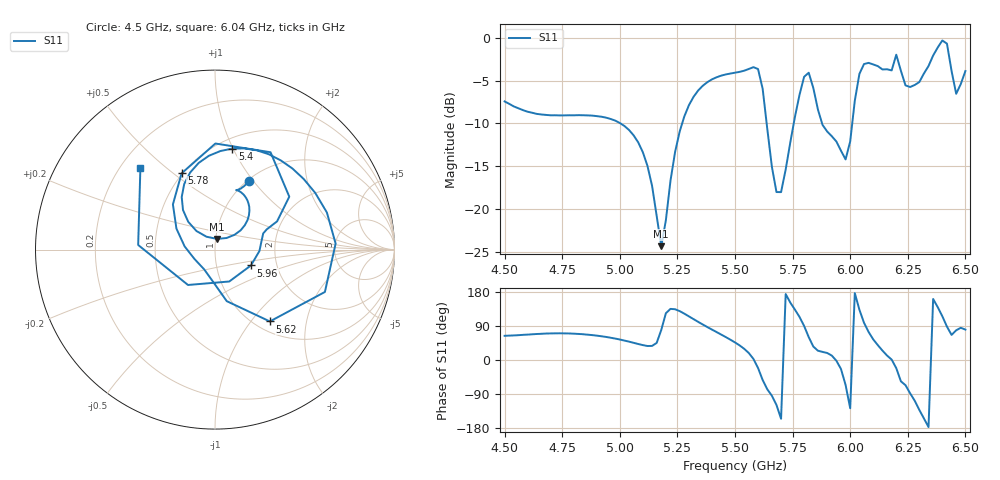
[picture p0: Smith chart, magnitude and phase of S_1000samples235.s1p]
! TOUCHSTONE file generated by CST MICROWAVE STUDIO
! Date and time: Thu Oct 27 11:33:39 2022
! Project name: L.cst
! Parameters = {Di=1.27; Epsilon_r=1.56; InnerDiameter=1.27; Length=2; Lf=10; Lg=60; OuterConductorThickness=0.2921; OuterDiameter=3.6; Wf=3; Wp=41.2; de=1.5; df=6.8; g=0.8; gx=0.54061; gy=1.55141; h=2.34; hf=1.524; px=11.357; py=14.2595; w=9.7; wx=10.8164; wy=12.7081}
! Header version: 2018
! Port assignment regex: !\s*Touchstone port\s*([0-9]+)\s*=\s*(CST MWS port|CST DS port)\s*([0-9]+|Zmin|Zmax)\s*\(\"(.*)\"\)(\s*mode\s*([0-9]+))?.*
! Touchstone port assignment:
! Touchstone port 1 = CST MWS port 1 ("")
# GHz S DB R 50
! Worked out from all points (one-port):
!   101 points, 4.5 GHz to 6.5 GHz, reference 50 ohm
!   lowest |S11| = -24.3 dB at 5.18 GHz (marker M1), VSWR 1.13, Z = 50.8 + j6.08 ohm
!   |S11| at or under -10 dB: 5.002 GHz to 5.271 GHz (268.5 MHz wide, 5.23 % of centre); 5.637 GHz to 5.755 GHz (117.7 MHz wide, 2.07 % of centre); 5.878 GHz to 6.009 GHz (130.9 MHz wide, 2.2 % of centre)
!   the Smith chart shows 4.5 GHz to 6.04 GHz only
!   S11 on the Smith chart (normalised r, x): 4.5 GHz: 1.02, +0.95; 5.4 GHz: 0.59, +0.99; 5.62 GHz: 1.16, -1.25; 5.78 GHz: 0.49, +0.54; 5.96 GHz: 1.47, -0.27; 6.04 GHz: 0.28, +0.41
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4.5  -7.44 63.8
4.76  -9.07 70.2
5  -9.96 54.1
5.12  -14.96 36.9
5.18  -24.34 79.4
5.26  -10.95 129.0
5.4  -4.86 80.3
5.5  -4.09 46.4
5.58  -3.44 2.8
5.62  -5.96 -52.6
5.68  -18.02 -118.6
5.76  -9.27 133.0
5.78  -6.67 113.7
5.8  -4.57 89.8
5.84  -5.88 35.5
5.96  -13.20 -23.8
6  -12.11 -127.4
6.04  -4.23 132.6
6.08  -2.94 73.8
6.2  -1.99 -21.5
6.22  -3.86 -56.2
6.26  -5.76 -87.8
6.32  -4.18 -154.2
6.36  -2.08 161.0
6.4  -0.32 115.3
6.42  -0.70 88.1
6.44  -3.89 66.2
6.5  -3.90 80.3
